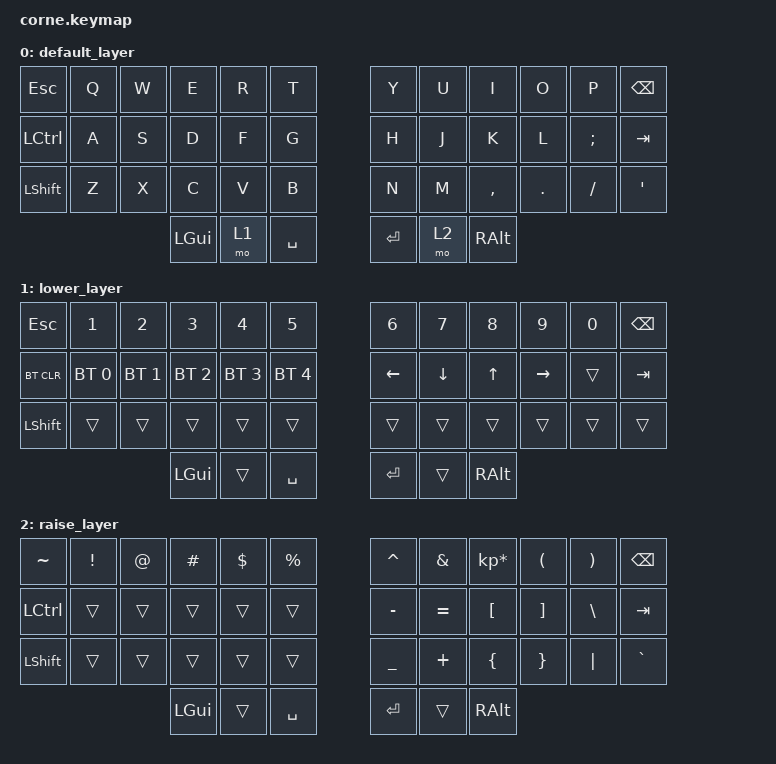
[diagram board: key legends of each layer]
/*
 * Copyright (c) 2020 The ZMK Contributors
 *
 * SPDX-License-Identifier: MIT
 */

#include <behaviors.dtsi>
#include <dt-bindings/zmk/keys.h>
#include <dt-bindings/zmk/bt.h>

/ {
        keymap {
                compatible = "zmk,keymap";

                default_layer {
// -----------------------------------------------------------------------------------------
// | ESC  |  Q  |  W  |  E  |  R  |  T  |   |  Y  |  U  |  I  |  O  |  P  | BKSP |
// | CTRL |  A  |  S  |  D  |  F  |  G  |   |  H  |  J  |  K  |  L  |  ;  | TAB  |
// | SHFT |  Z  |  X  |  C  |  V  |  B  |   |  N  |  M  |  ,  |  .  |  /  | '    |
//                    | GUI | LWR | SPC |   | ENT | RSE | ALT |
                        bindings = <
   &kp ESC    &kp Q  &kp W     &kp E   &kp R        &kp T    &kp Y  &kp U     &kp I      &kp O    &kp P     &kp BSPC
   &kp LCTRL  &kp A  &kp S     &kp D   &kp F        &kp G    &kp H  &kp J     &kp K      &kp L    &kp SEMI  &kp TAB
   &kp LSHFT  &kp Z  &kp X     &kp C   &kp V        &kp B    &kp N  &kp M     &kp COMMA  &kp DOT  &kp FSLH  &kp SQT
                     &kp LGUI  &mo 1   &kp SPACE    &kp RET  &mo 2  &kp RALT
                        >;
                };
                lower_layer {
// -----------------------------------------------------------------------------------------
// | ESC   |  1  |  2  |  3  |  4  |  5  |   |  6  |  7  |  8  |  9  |  0  | BKSP |
// | BTCLR | BT1 | BT2 | BT3 | BT4 | BT5 |   | LFT | DWN |  UP | RGT |     | TAB  |
// | SHFT  |     |     |     |     |     |   |     |     |     |     |     |      |
//                     | GUI |     | SPC |   | ENT |     | ALT |
                        bindings = <
   &kp ESC     &kp N1        &kp N2        &kp N3        &kp N4        &kp N5          &kp N6    &kp N7    &kp N8 &kp N9     &kp N0  &kp BSPC
   &bt BT_CLR  &bt BT_SEL 0  &bt BT_SEL 1  &bt BT_SEL 2  &bt BT_SEL 3  &bt BT_SEL 4    &kp LEFT  &kp DOWN  &kp UP &kp RIGHT  &trans  &kp TAB
   &kp LSHFT   &trans        &trans        &trans        &trans        &trans          &trans    &trans    &trans &trans     &trans  &trans
                    	     &kp LGUI      &trans        &kp SPACE     &kp RET         &trans    &kp RALT
                        >;
                };

                raise_layer {
// -----------------------------------------------------------------------------------------
// |   ~  |  !  |  @  |  #  |  $  |  %  |   |  ^  |  &  |  *  |  (  |  )  | BKSP |
// | CTRL |     |     |     |     |     |   |  -  |  =  |  [  |  ]  |  \  | TAB  |
// | SHFT |     |     |     |     |     |   |  _  |  +  |  {  |  }  | "|" |  `   |
//                    | GUI |     | SPC |   | ENT |     | ALT |
                        bindings = <
   &kp TILDE  &kp EXCL  &kp AT  &kp HASH  &kp DLLR   &kp PRCNT    &kp CARET  &kp AMPS   &kp KP_MULTIPLY  &kp LPAR  &kp RPAR  &kp BSPC
   &kp LCTRL  &trans    &trans  &trans    &trans     &trans       &kp MINUS  &kp EQUAL  &kp LBKT         &kp RBKT  &kp BSLH  &kp TAB
   &kp LSHFT  &trans    &trans  &trans    &trans     &trans       &kp UNDER  &kp PLUS   &kp LBRC         &kp RBRC  &kp PIPE  &kp GRAVE
                    	        &kp LGUI  &trans     &kp SPACE    &kp RET    &trans     &kp RALT
                        >;
                };
        };
};
